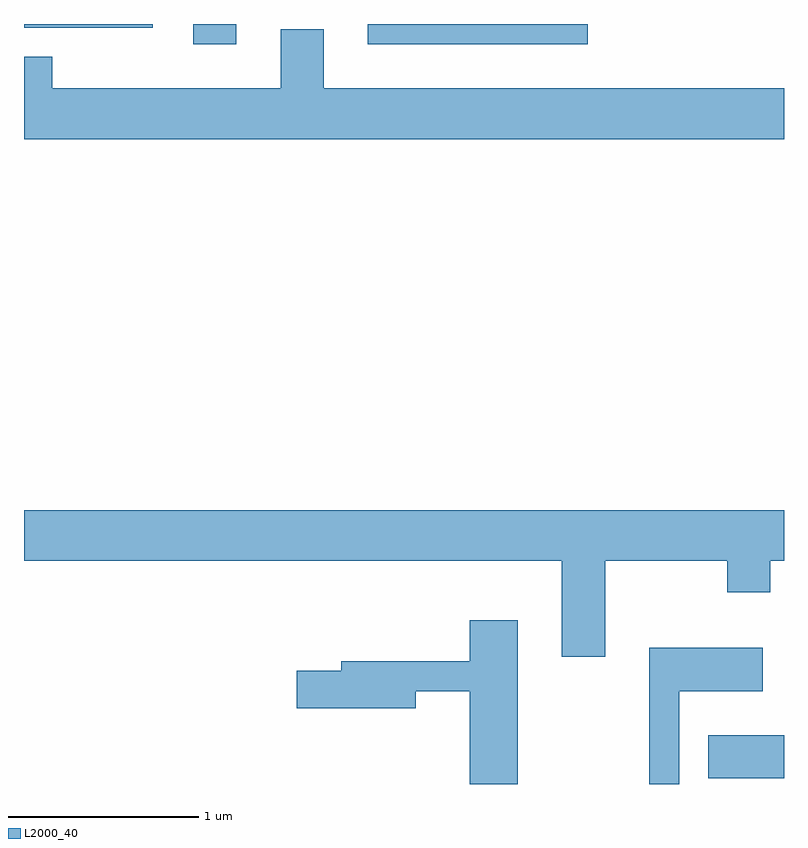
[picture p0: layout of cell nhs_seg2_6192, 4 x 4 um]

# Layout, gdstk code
import gdstk
lib = gdstk.Library(unit=1e-6, precision=1e-09)
def R(c, l, rs):  # rectangles x0, y0, x1, y1
    for r in rs: c.add(gdstk.rectangle(r[:2], r[2:], *l))
def P(c, l, *ps):  # polygons
    for p in ps: c.add(gdstk.Polygon(p, *l))
L2000_40 = (2000, 40)

nhs_seg2_6192 = lib.new_cell('nhs_seg2_6192')
R(nhs_seg2_6192, L2000_40, [(371.211,1053.831,371.611,1054.059), (368.501,1057.696,368.729,1057.802), (369.421,1057.696,370.578,1057.802), (367.611,1057.781,368.288,1057.802)])
P(nhs_seg2_6192, L2000_40, [(371.611,1057.464),(369.189,1057.464),(369.189,1057.774),(368.961,1057.774),(368.961,1057.464),(367.759,1057.464),(367.759,1057.629),(367.611,1057.629),(367.611,1057.196),(371.611,1057.196)],
  [(370.669,1054.976),(371.311,1054.976),(371.311,1054.811),(371.539,1054.811),(371.539,1054.976),(371.611,1054.976),(371.611,1055.244),(367.611,1055.244),(367.611,1054.976),(370.441,1054.976),(370.441,1054.471),(370.669,1054.471)],
  [(370.209,1054.664),(369.956,1054.664),(369.956,1054.449),(369.281,1054.449),(369.281,1054.399),(369.046,1054.399),(369.046,1054.201),(369.674,1054.201),(369.674,1054.291),(369.956,1054.291),(369.956,1053.802),(370.209,1053.802)],
  [(371.059,1054.291),(371.499,1054.291),(371.499,1054.519),(370.901,1054.519),(370.901,1053.802),(371.059,1053.802)])

lib.write_gds('nhs_seg2_6192.gds')
